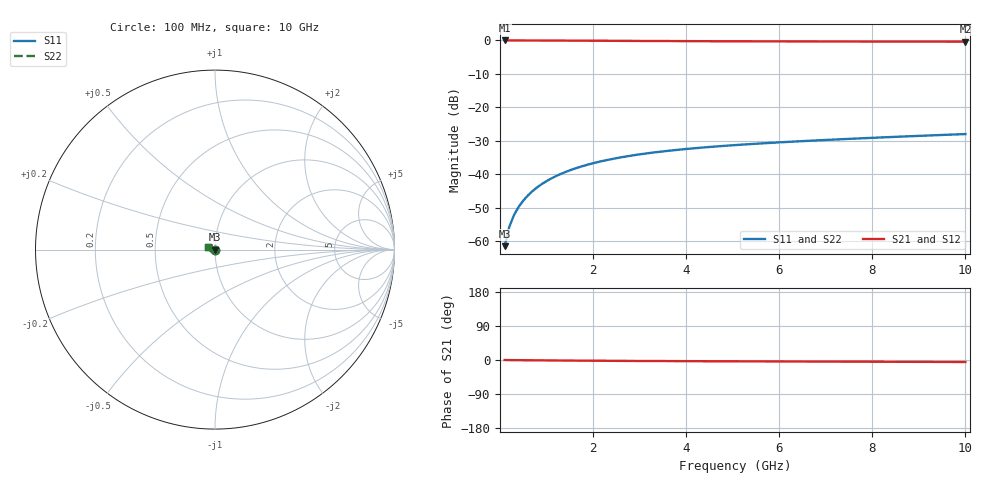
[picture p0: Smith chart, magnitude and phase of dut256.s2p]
! Touchstone file exported from HFSS 2024.1.0
!  File:  C:/UserFiles/LocalFiles/RDL_TSV_Batchsim/temp_TSV1_256_1779390961.aedt
!  Generated:  03:21:35 AM May 22, 2026
!  Design:  TSV1
!  Project:  temp_TSV1_256_1779390961
!  Setup:  Setup1
!  Solution:  Sweep
! Variables:
!  dtsv = 7.34um
!  hbump = 3um
!  htsv = 79.11um
!  lrdl = 252.1521522um
!  p = 40
!  p1 = 51.82um
!  t = 500um
!  trdl = 3um
!  wrdl = 24.89489489um
# GHz S MA R 50.000000
! Terminal data exported
! Port[1] = TSV22_T1
! Port[2] = TSV22_T2
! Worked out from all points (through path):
!   100 points, 100 MHz to 10 GHz, reference 50 ohm
!   highest |S21| = 0.00 dB at 100 MHz (marker M1); lowest = -0.4 dB at 10 GHz (marker M2)
!   lowest |S11| = -61.4 dB at 100 MHz (marker M3), VSWR 1.00, Z = 50 - j0.0816 ohm
!   |S11| at or under -10 dB: start of sweep to end of sweep
!   |S22| runs from -61.4 to -28.0 dB; largest |S21 - S12| = 3.2e-15
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0.1  0.0008487 -73.9  0.9997 -0.1  0.9997 -0.1  0.0008487 -73.9
! Gamma 0 0 0 0
! Port Impedance 50 0 50 0
0.2  0.001649 -84.8  0.9996 -0.2  0.9996 -0.2  0.001649 -84.8
0.3  0.002456 -90.0  0.9994 -0.3  0.9994 -0.3  0.002456 -90.0
0.4  0.003262 -93.6  0.9992 -0.4  0.9992 -0.4  0.003262 -93.6
0.5  0.004062 -96.6  0.999 -0.5  0.999 -0.5  0.004062 -96.6
0.6  0.004856 -99.3  0.9986 -0.7  0.9986 -0.7  0.004856 -99.3
0.7  0.005641 -101.8  0.9983 -0.8  0.9983 -0.8  0.005641 -101.8
0.8  0.006417 -104.1  0.9978 -0.9  0.9978 -0.9  0.006417 -104.1
0.9  0.007182 -106.4  0.9974 -1.0  0.9974 -1.0  0.007182 -106.4
1.1  0.008675 -110.7  0.9963 -1.2  0.9963 -1.2  0.008675 -110.7
1.4  0.01081 -116.8  0.9945 -1.4  0.9945 -1.4  0.01081 -116.8
1.6  0.01216 -120.7  0.9931 -1.6  0.9931 -1.6  0.01216 -120.7
1.8  0.01345 -124.4  0.9917 -1.8  0.9917 -1.8  0.01345 -124.4
2.1  0.01527 -129.8  0.9895 -2.0  0.9895 -2.0  0.01527 -129.8
2.5  0.01747 -136.5  0.9866 -2.3  0.9866 -2.3  0.01747 -136.5
2.9  0.01945 -142.7  0.9837 -2.5  0.9837 -2.5  0.01945 -142.7
3.4  0.02165 -149.8  0.9804 -2.8  0.9804 -2.8  0.02165 -149.8
4.2  0.02466 -159.9  0.9757 -3.1  0.9757 -3.1  0.02466 -159.9
5.1  0.02754 -169.7  0.9715 -3.5  0.9715 -3.5  0.02754 -169.7
6.7  0.03192 176.1  0.966 -4.1  0.966 -4.1  0.03192 176.1
8.4  0.03615 164.1  0.9622 -4.7  0.9622 -4.7  0.03615 164.1
10  0.04003 155.0  0.9597 -5.3  0.9597 -5.3  0.04003 155.0
